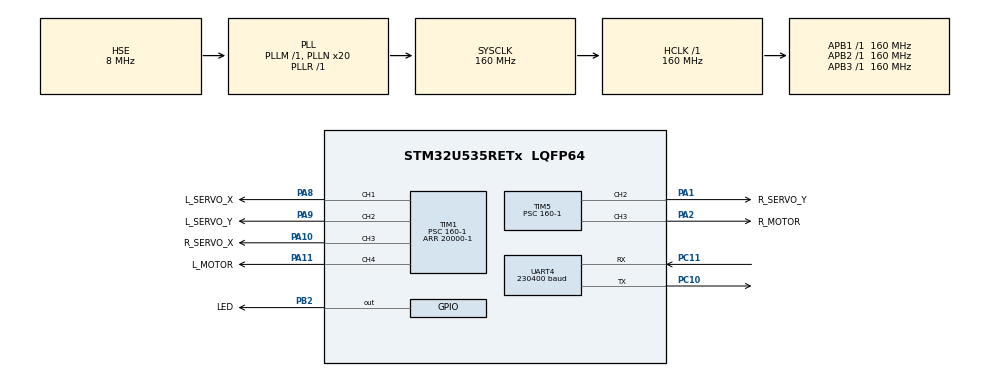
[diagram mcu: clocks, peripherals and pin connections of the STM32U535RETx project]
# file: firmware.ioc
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CORTEX_M33_NS.userName=CORTEX_M33
GPDMA1.CIRCULARMODE_GPDMACH0=ENABLE
GPDMA1.DESTINC_GPDMACH0=DMA_DINC_INCREMENTED
GPDMA1.DIRECTION_GPDMACH1=DMA_MEMORY_TO_PERIPH
GPDMA1.IPHANDLE_GPDMACH0-SIMPLEREQUEST_GPDMACH0=__NULL
GPDMA1.IPHANDLE_GPDMACH1-SIMPLEREQUEST_GPDMACH1=__NULL
GPDMA1.REQUEST_GPDMACH0=GPDMA1_REQUEST_UART4_RX
GPDMA1.REQUEST_GPDMACH1=GPDMA1_REQUEST_UART4_TX
GPDMA1.SRCINC_GPDMACH1=DMA_SINC_INCREMENTED
Mcu.Family=STM32U5
Mcu.Name=STM32U535RETx
Mcu.Package=LQFP64
NVIC.GPDMA1_Channel0_IRQn=true\:0\:0\:false\:false\:true\:false\:true\:true
NVIC.GPDMA1_Channel1_IRQn=true\:0\:0\:false\:false\:true\:false\:true\:true
NVIC.PriorityGroup=NVIC_PRIORITYGROUP_4
NVIC.UART4_IRQn=true\:0\:0\:false\:false\:true\:true\:true\:true
PA1.GPIO_Label=R_SERVO_Y
PA1.Signal=S_TIM5_CH2
PA10.GPIO_Label=R_SERVO_X
PA10.Signal=S_TIM1_CH3
PA11.GPIO_Label=L_MOTOR
PA11.Signal=S_TIM1_CH4
PA2.GPIO_Label=R_MOTOR
PA2.Signal=S_TIM5_CH3
PA8.GPIO_Label=L_SERVO_X
PA8.Signal=S_TIM1_CH1
PA9.GPIO_Label=L_SERVO_Y
PA9.Signal=S_TIM1_CH2
PB2.GPIO_Label=LED
PB2.Signal=GPIO_Output
PC10.Mode=Asynchronous
PC10.Signal=UART4_TX
PC11.Mode=Asynchronous
PC11.Signal=UART4_RX
PH0-OSC_IN\ (PH0).Mode=HSE-External-Oscillator
PH0-OSC_IN\ (PH0).Signal=RCC_OSC_IN
PH1-OSC_OUT\ (PH1).Mode=HSE-External-Oscillator
PH1-OSC_OUT\ (PH1).Signal=RCC_OSC_OUT
ProjectManager.HeapSize=0x200
ProjectManager.StackSize=0x400
ProjectManager.TargetToolchain=STM32CubeIDE
RCC.ADCFreq_Value=16000000
RCC.AHBFreq_Value=160000000
RCC.APB1Freq_Value=160000000
RCC.APB1TimFreq_Value=160000000
RCC.APB2Freq_Value=160000000
RCC.APB2TimFreq_Value=160000000
RCC.APB3Freq_Value=160000000
RCC.CortexFreq_Value=160000000
RCC.DACCLockSelectionVirtual=RCC_DAC1CLKSOURCE_LSI
RCC.DACCLockSelectionVirtualString=RCC_DAC1CLKSOURCE_LSI
RCC.EPOD_VALUE=8000000
RCC.HCLKFreq_Value=160000000
RCC.HSE_VALUE=8000000
RCC.HSI48_VALUE=48000000
RCC.HSI_VALUE=16000000
RCC.LSE_VALUE=32768
RCC.LSIDIV_VALUE=32000
RCC.MSIClockRange=RCC_MSIRANGE_0
RCC.MSI_VALUE=48000000
RCC.PLL1R=1
RCC.PLL2FRACN=0
RCC.PLL3FRACN=0
RCC.PLLFRACN=0
RCC.PLLN=20
RCC.PLLSourceVirtual=RCC_PLLSOURCE_HSE
RCC.SYSCLKFreq_VALUE=160000000
RCC.SYSCLKSource=RCC_SYSCLKSOURCE_PLLCLK
RCC.USBFreq_Value=48000000
RCC.VCOOutputFreq_Value=160000000
SH.S_TIM1_CH1.0=TIM1_CH1,PWM Generation1 CH1
SH.S_TIM1_CH2.0=TIM1_CH2,PWM Generation2 CH2
SH.S_TIM1_CH3.0=TIM1_CH3,PWM Generation3 CH3
SH.S_TIM1_CH4.0=TIM1_CH4,PWM Generation4 CH4
SH.S_TIM5_CH2.0=TIM5_CH2,PWM Generation2 CH2
SH.S_TIM5_CH3.0=TIM5_CH3,PWM Generation3 CH3
TIM1.Channel-PWM\ Generation1\ CH1=TIM_CHANNEL_1
TIM1.Channel-PWM\ Generation2\ CH2=TIM_CHANNEL_2
TIM1.Channel-PWM\ Generation3\ CH3=TIM_CHANNEL_3
TIM1.Channel-PWM\ Generation4\ CH4=TIM_CHANNEL_4
TIM1.PeriodNoDither=20000-1
TIM1.Prescaler=160-1
TIM5.Channel-PWM\ Generation2\ CH2=TIM_CHANNEL_2
TIM5.Channel-PWM\ Generation3\ CH3=TIM_CHANNEL_3
TIM5.PeriodNoDither=20000-1
TIM5.Prescaler=160-1
UART4.BaudRate=230400
VP_GPDMA1_VS_GPDMACH0.Mode=SIMPLEREQUEST_GPDMACH0
VP_GPDMA1_VS_GPDMACH1.Mode=SIMPLEREQUEST_GPDMACH1
VP_ICACHE_VS_ICACHE.Mode=DirectMappedCache
VP_LPBAMQUEUE_VS_QUEUE.Mode=QUEUEMODE
VP_LPBAM_VS_SIG1.Mode=SmartRun
VP_LPBAM_VS_SIG4.Mode=LPDMA1
VP_MEMORYMAP_VS_MEMORYMAP.Mode=CurAppReg
VP_PWR_VS_SECSignals.Mode=Security/Privilege
board=custom

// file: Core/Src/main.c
/* USER CODE BEGIN Header */
/**
  ******************************************************************************
  * @file           : main.c
  * @brief          : Main program body
  ******************************************************************************
  * @attention
  *
  * Copyright (c) 2024 STMicroelectronics.
  * All rights reserved.
  *
  * This software is licensed under terms that can be found in the LICENSE file
  * in the root directory of this software component.
  * If no LICENSE file comes with this software, it is provided AS-IS.
  *
  ******************************************************************************
  */
/* USER CODE END Header */
#include "main.h"

/* USER CODE BEGIN Includes */

#include <math.h>
#include <string.h>
#include <stdio.h>
#include <stdlib.h>
#include <stdarg.h>

#include "protocol.h"

/* USER CODE END Includes */

TIM_HandleTypeDef htim1;
TIM_HandleTypeDef htim5;

UART_HandleTypeDef huart4;
DMA_HandleTypeDef handle_GPDMA1_Channel1;
DMA_NodeTypeDef Node_GPDMA1_Channel0;
DMA_QListTypeDef List_GPDMA1_Channel0;
DMA_HandleTypeDef handle_GPDMA1_Channel0;

void SystemClock_Config(void);
static void MX_GPIO_Init(void);
static void MX_GPDMA1_Init(void);
static void MX_ICACHE_Init(void);
static void MX_UART4_Init(void);
static void MX_TIM5_Init(void);
static void MX_TIM1_Init(void);
/* USER CODE BEGIN PFP */

#define PI 3.14159265359f

typedef struct {
	uint32_t x;
	uint32_t y;
	uint32_t motor;
} control_t;

static protocol_t protocol = PROTOCOL_INIT;
static uint32_t last_message = 0;

void control_set(const control_t *left, const control_t *right) {
	__HAL_TIM_SET_COMPARE(&htim1, TIM_CHANNEL_3, left->x);
	__HAL_TIM_SET_COMPARE(&htim1, TIM_CHANNEL_2, left->y);
	__HAL_TIM_SET_COMPARE(&htim1, TIM_CHANNEL_4, left->motor);

	__HAL_TIM_SET_COMPARE(&htim1, TIM_CHANNEL_1, 3000 - right->x);
	__HAL_TIM_SET_COMPARE(&htim5, TIM_CHANNEL_2, right->y);
	__HAL_TIM_SET_COMPARE(&htim5, TIM_CHANNEL_3, right->motor);
}

void control_init() {
	HAL_TIM_Base_Start(&htim1);
	HAL_TIM_Base_Start(&htim5);

	HAL_TIM_PWM_Start(&htim1, TIM_CHANNEL_1);
	HAL_TIM_PWM_Start(&htim1, TIM_CHANNEL_2);
	HAL_TIM_PWM_Start(&htim1, TIM_CHANNEL_3);
	HAL_TIM_PWM_Start(&htim1, TIM_CHANNEL_4);
	HAL_TIM_PWM_Start(&htim5, TIM_CHANNEL_2);
	HAL_TIM_PWM_Start(&htim5, TIM_CHANNEL_3);

	const control_t control = {
		.x = 1500,
		.y = 1500,
		.motor = 1000,
	};

	control_set(&control, &control);

	HAL_Delay(5000);
}

static void logger(const char *format, ...) {
    va_list args;
    va_start(args, format);

	char buffer[256];
    const uint16_t len = vsprintf(buffer, format, args);

    protocol_enqueue(&protocol, 0x01, buffer, len);
}

static void comm_transmit(void *user, const void *data, const uint32_t size) {
    (void)user;
    HAL_UART_Transmit_DMA(&huart4, data, size);
}

static void comm_receive(void *user, const uint8_t id, const uint32_t time, const void *payload, const uint32_t size) {
    (void)user;
    (void)time;

	if(size==(2*sizeof(control_t))) {
		const control_t *left = &((control_t *)payload)[0];
		const control_t *right = &((control_t *)payload)[1];

		logger("LX %4d   LY %d   LM %d   RX %d   RY %d   RM %d", left->x, left->y, left->motor, right->x, right->y, right->motor);

		control_set(left, right);
	}

	last_message = HAL_GetTick();
}

static void comm_error(void *user, const protocol_error_t error) {
    (void)user;
    (void)error;
}

static uint32_t comm_time(void *user) {
	(void)user;
	return HAL_GetTick();
}

/* USER CODE END PFP */

int main(void)
{

  /* MCU Configuration--------------------------------------------------------*/

  /* Reset of all peripherals, Initializes the Flash interface and the Systick. */
  HAL_Init();

  /* Configure the system clock */
  SystemClock_Config();

  /* Initialize all configured peripherals */
  MX_GPIO_Init();
  MX_GPDMA1_Init();
  MX_ICACHE_Init();
  MX_UART4_Init();
  MX_TIM5_Init();
  MX_TIM1_Init();

  /* Infinite loop */
  /* USER CODE BEGIN WHILE */

  control_init();

	uint8_t buffer_tx[10*1024];
	uint8_t buffer_rx[10*1024];
	uint8_t buffer_decode[10*1024];

	protocol.callback_tx = comm_transmit;
	protocol.callback_rx = comm_receive;
	protocol.callback_err = comm_error;
	protocol.callback_time = comm_time;
	protocol.fifo_tx.buffer = buffer_tx;
	protocol.fifo_tx.size = sizeof(buffer_tx);
	protocol.fifo_rx.buffer = buffer_rx;
	protocol.fifo_rx.size = sizeof(buffer_rx);
	protocol.decoded = buffer_decode;
	protocol.max = sizeof(buffer_decode);

	HAL_UART_Receive_DMA(&huart4, protocol.fifo_rx.buffer, protocol.fifo_rx.size);

  uint32_t last_blink = 0;
  uint32_t last_protocol = 0;
  uint32_t last_check = 0;

  while(1) {
	  const uint32_t time = HAL_GetTick();

	  if((time - last_protocol)>=1) {
		  last_protocol = time;
		  protocol.fifo_rx.write = protocol.fifo_rx.size - __HAL_DMA_GET_COUNTER(huart4.hdmarx);
		  protocol.available = (HAL_DMA_GetState(huart4.hdmatx)==HAL_DMA_STATE_READY);
		  protocol_process(&protocol);
	  }

	  if((time - last_blink)>=500) {
		  last_blink = time;
		  HAL_GPIO_TogglePin(LED_GPIO_Port, LED_Pin);
	  }

	  if((time - last_message)>=1000 && (time - last_check)>=1000) {
		  last_check = time;

		  HAL_UART_Receive_DMA(&huart4, protocol.fifo_rx.buffer, protocol.fifo_rx.size);

			const control_t control = {
				.x = 1500,
				.y = 1500,
				.motor = 1000,
			};

			control_set(&control, &control);
	  }

    /* USER CODE END WHILE */

  }
}

void SystemClock_Config(void)
{
  RCC_OscInitTypeDef RCC_OscInitStruct = {0};
  RCC_ClkInitTypeDef RCC_ClkInitStruct = {0};

  /** Configure the main internal regulator output voltage
  */
  if (HAL_PWREx_ControlVoltageScaling(PWR_REGULATOR_VOLTAGE_SCALE1) != HAL_OK)
  {
    Error_Handler();
  }

  /** Initializes the CPU, AHB and APB buses clocks
  */
  RCC_OscInitStruct.OscillatorType = RCC_OSCILLATORTYPE_HSE;
  RCC_OscInitStruct.HSEState = RCC_HSE_ON;
  RCC_OscInitStruct.PLL.PLLState = RCC_PLL_ON;
  RCC_OscInitStruct.PLL.PLLSource = RCC_PLLSOURCE_HSE;
  RCC_OscInitStruct.PLL.PLLMBOOST = RCC_PLLMBOOST_DIV1;
  RCC_OscInitStruct.PLL.PLLM = 1;
  RCC_OscInitStruct.PLL.PLLN = 20;
  RCC_OscInitStruct.PLL.PLLP = 2;
  RCC_OscInitStruct.PLL.PLLQ = 2;
  RCC_OscInitStruct.PLL.PLLR = 1;
  RCC_OscInitStruct.PLL.PLLRGE = RCC_PLLVCIRANGE_1;
  RCC_OscInitStruct.PLL.PLLFRACN = 0;
  if (HAL_RCC_OscConfig(&RCC_OscInitStruct) != HAL_OK)
  {
    Error_Handler();
  }

  /** Initializes the CPU, AHB and APB buses clocks
  */
  RCC_ClkInitStruct.ClockType = RCC_CLOCKTYPE_HCLK|RCC_CLOCKTYPE_SYSCLK
                              |RCC_CLOCKTYPE_PCLK1|RCC_CLOCKTYPE_PCLK2
                              |RCC_CLOCKTYPE_PCLK3;
  RCC_ClkInitStruct.SYSCLKSource = RCC_SYSCLKSOURCE_PLLCLK;
  RCC_ClkInitStruct.AHBCLKDivider = RCC_SYSCLK_DIV1;
  RCC_ClkInitStruct.APB1CLKDivider = RCC_HCLK_DIV1;
  RCC_ClkInitStruct.APB2CLKDivider = RCC_HCLK_DIV1;
  RCC_ClkInitStruct.APB3CLKDivider = RCC_HCLK_DIV1;

  if (HAL_RCC_ClockConfig(&RCC_ClkInitStruct, FLASH_LATENCY_4) != HAL_OK)
  {
    Error_Handler();
  }
}

static void MX_GPDMA1_Init(void)
{

  /* Peripheral clock enable */
  __HAL_RCC_GPDMA1_CLK_ENABLE();

  /* GPDMA1 interrupt Init */
    HAL_NVIC_SetPriority(GPDMA1_Channel0_IRQn, 0, 0);
    HAL_NVIC_EnableIRQ(GPDMA1_Channel0_IRQn);
    HAL_NVIC_SetPriority(GPDMA1_Channel1_IRQn, 0, 0);
    HAL_NVIC_EnableIRQ(GPDMA1_Channel1_IRQn);

}

static void MX_ICACHE_Init(void)
{

  /** Enable instruction cache in 1-way (direct mapped cache)
  */
  if (HAL_ICACHE_ConfigAssociativityMode(ICACHE_1WAY) != HAL_OK)
  {
    Error_Handler();
  }
  if (HAL_ICACHE_Enable() != HAL_OK)
  {
    Error_Handler();
  }

}

static void MX_TIM1_Init(void)
{

  TIM_MasterConfigTypeDef sMasterConfig = {0};
  TIM_OC_InitTypeDef sConfigOC = {0};
  TIM_BreakDeadTimeConfigTypeDef sBreakDeadTimeConfig = {0};

  htim1.Instance = TIM1;
  htim1.Init.Prescaler = 160-1;
  htim1.Init.CounterMode = TIM_COUNTERMODE_UP;
  htim1.Init.Period = 19999;
  htim1.Init.ClockDivision = TIM_CLOCKDIVISION_DIV1;
  htim1.Init.RepetitionCounter = 0;
  htim1.Init.AutoReloadPreload = TIM_AUTORELOAD_PRELOAD_DISABLE;
  if (HAL_TIM_PWM_Init(&htim1) != HAL_OK)
  {
    Error_Handler();
  }
  sMasterConfig.MasterOutputTrigger = TIM_TRGO_RESET;
  sMasterConfig.MasterOutputTrigger2 = TIM_TRGO2_RESET;
  sMasterConfig.MasterSlaveMode = TIM_MASTERSLAVEMODE_DISABLE;
  if (HAL_TIMEx_MasterConfigSynchronization(&htim1, &sMasterConfig) != HAL_OK)
  {
    Error_Handler();
  }
  sConfigOC.OCMode = TIM_OCMODE_PWM1;
  sConfigOC.Pulse = 0;
  sConfigOC.OCPolarity = TIM_OCPOLARITY_HIGH;
  sConfigOC.OCNPolarity = TIM_OCNPOLARITY_HIGH;
  sConfigOC.OCFastMode = TIM_OCFAST_DISABLE;
  sConfigOC.OCIdleState = TIM_OCIDLESTATE_RESET;
  sConfigOC.OCNIdleState = TIM_OCNIDLESTATE_RESET;
  if (HAL_TIM_PWM_ConfigChannel(&htim1, &sConfigOC, TIM_CHANNEL_1) != HAL_OK)
  {
    Error_Handler();
  }
  if (HAL_TIM_PWM_ConfigChannel(&htim1, &sConfigOC, TIM_CHANNEL_2) != HAL_OK)
  {
    Error_Handler();
  }
  if (HAL_TIM_PWM_ConfigChannel(&htim1, &sConfigOC, TIM_CHANNEL_3) != HAL_OK)
  {
    Error_Handler();
  }
  if (HAL_TIM_PWM_ConfigChannel(&htim1, &sConfigOC, TIM_CHANNEL_4) != HAL_OK)
  {
    Error_Handler();
  }
  sBreakDeadTimeConfig.OffStateRunMode = TIM_OSSR_DISABLE;
  sBreakDeadTimeConfig.OffStateIDLEMode = TIM_OSSI_DISABLE;
  sBreakDeadTimeConfig.LockLevel = TIM_LOCKLEVEL_OFF;
  sBreakDeadTimeConfig.DeadTime = 0;
  sBreakDeadTimeConfig.BreakState = TIM_BREAK_DISABLE;
  sBreakDeadTimeConfig.BreakPolarity = TIM_BREAKPOLARITY_HIGH;
  sBreakDeadTimeConfig.BreakFilter = 0;
  sBreakDeadTimeConfig.BreakAFMode = TIM_BREAK_AFMODE_INPUT;
  sBreakDeadTimeConfig.Break2State = TIM_BREAK2_DISABLE;
  sBreakDeadTimeConfig.Break2Polarity = TIM_BREAK2POLARITY_HIGH;
  sBreakDeadTimeConfig.Break2Filter = 0;
  sBreakDeadTimeConfig.Break2AFMode = TIM_BREAK_AFMODE_INPUT;
  sBreakDeadTimeConfig.AutomaticOutput = TIM_AUTOMATICOUTPUT_DISABLE;
  if (HAL_TIMEx_ConfigBreakDeadTime(&htim1, &sBreakDeadTimeConfig) != HAL_OK)
  {
    Error_Handler();
  }
  HAL_TIM_MspPostInit(&htim1);

}

static void MX_TIM5_Init(void)
{

  TIM_MasterConfigTypeDef sMasterConfig = {0};
  TIM_OC_InitTypeDef sConfigOC = {0};

  htim5.Instance = TIM5;
  htim5.Init.Prescaler = 160-1;
  htim5.Init.CounterMode = TIM_COUNTERMODE_UP;
  htim5.Init.Period = 19999;
  htim5.Init.ClockDivision = TIM_CLOCKDIVISION_DIV1;
  htim5.Init.AutoReloadPreload = TIM_AUTORELOAD_PRELOAD_DISABLE;
  if (HAL_TIM_PWM_Init(&htim5) != HAL_OK)
  {
    Error_Handler();
  }
  sMasterConfig.MasterOutputTrigger = TIM_TRGO_RESET;
  sMasterConfig.MasterSlaveMode = TIM_MASTERSLAVEMODE_DISABLE;
  if (HAL_TIMEx_MasterConfigSynchronization(&htim5, &sMasterConfig) != HAL_OK)
  {
    Error_Handler();
  }
  sConfigOC.OCMode = TIM_OCMODE_PWM1;
  sConfigOC.Pulse = 0;
  sConfigOC.OCPolarity = TIM_OCPOLARITY_HIGH;
  sConfigOC.OCFastMode = TIM_OCFAST_DISABLE;
  if (HAL_TIM_PWM_ConfigChannel(&htim5, &sConfigOC, TIM_CHANNEL_2) != HAL_OK)
  {
    Error_Handler();
  }
  if (HAL_TIM_PWM_ConfigChannel(&htim5, &sConfigOC, TIM_CHANNEL_3) != HAL_OK)
  {
    Error_Handler();
  }
  HAL_TIM_MspPostInit(&htim5);

}

static void MX_UART4_Init(void)
{

  huart4.Instance = UART4;
  huart4.Init.BaudRate = 230400;
  huart4.Init.WordLength = UART_WORDLENGTH_8B;
  huart4.Init.StopBits = UART_STOPBITS_1;
  huart4.Init.Parity = UART_PARITY_NONE;
  huart4.Init.Mode = UART_MODE_TX_RX;
  huart4.Init.HwFlowCtl = UART_HWCONTROL_NONE;
  huart4.Init.OverSampling = UART_OVERSAMPLING_16;
  huart4.Init.OneBitSampling = UART_ONE_BIT_SAMPLE_DISABLE;
  huart4.Init.ClockPrescaler = UART_PRESCALER_DIV1;
  huart4.AdvancedInit.AdvFeatureInit = UART_ADVFEATURE_NO_INIT;
  if (HAL_UART_Init(&huart4) != HAL_OK)
  {
    Error_Handler();
  }
  if (HAL_UARTEx_SetTxFifoThreshold(&huart4, UART_TXFIFO_THRESHOLD_1_8) != HAL_OK)
  {
    Error_Handler();
  }
  if (HAL_UARTEx_SetRxFifoThreshold(&huart4, UART_RXFIFO_THRESHOLD_1_8) != HAL_OK)
  {
    Error_Handler();
  }
  if (HAL_UARTEx_DisableFifoMode(&huart4) != HAL_OK)
  {
    Error_Handler();
  }

}

static void MX_GPIO_Init(void)
{
  GPIO_InitTypeDef GPIO_InitStruct = {0};

  /* GPIO Ports Clock Enable */
  __HAL_RCC_GPIOH_CLK_ENABLE();
  __HAL_RCC_GPIOA_CLK_ENABLE();
  __HAL_RCC_GPIOB_CLK_ENABLE();
  __HAL_RCC_GPIOC_CLK_ENABLE();

  /*Configure GPIO pin Output Level */
  HAL_GPIO_WritePin(LED_GPIO_Port, LED_Pin, GPIO_PIN_RESET);

  /*Configure GPIO pin : LED_Pin */
  GPIO_InitStruct.Pin = LED_Pin;
  GPIO_InitStruct.Mode = GPIO_MODE_OUTPUT_PP;
  GPIO_InitStruct.Pull = GPIO_NOPULL;
  GPIO_InitStruct.Speed = GPIO_SPEED_FREQ_LOW;
  HAL_GPIO_Init(LED_GPIO_Port, &GPIO_InitStruct);

}

void Error_Handler(void)
{
  __disable_irq();
  while (1)
  {
  }
}
